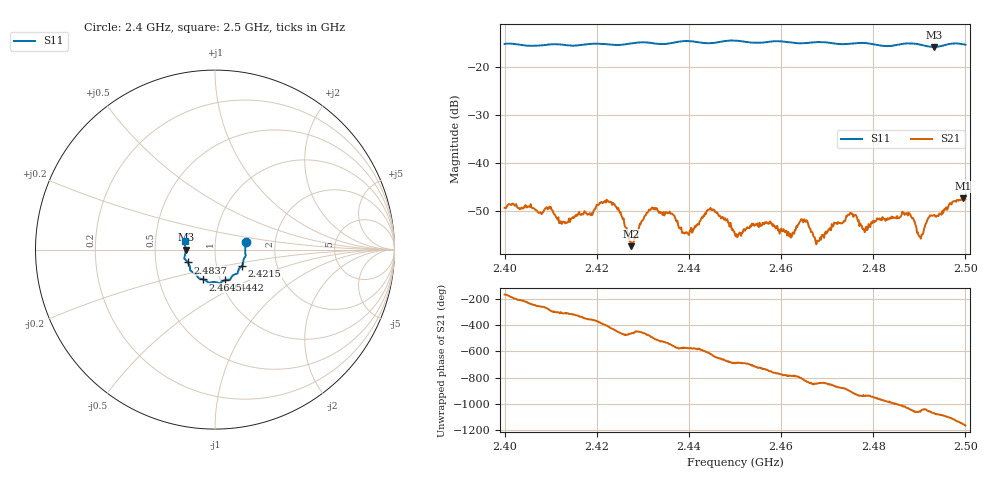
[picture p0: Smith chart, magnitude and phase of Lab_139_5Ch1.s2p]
# Hz S RI R 50
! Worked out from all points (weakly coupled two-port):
!   601 points, 2.4 GHz to 2.5 GHz, reference 50 ohm
!   highest |S21| = -47.28 dB at 2.4995 GHz (marker M1); lowest = -57.3 dB at 2.4275 GHz (marker M2)
!   lowest |S11| = -15.7 dB at 2.4932 GHz (marker M3), VSWR 1.39, Z = 36 - j0.0548 ohm
!   |S11| at or under -10 dB: start of sweep to end of sweep
!   S12 and S22 are empty: the file has one direction only
!   S11 on the Smith chart (normalised r, x): 2.4 GHz: 1.41, +0.12; 2.4215 GHz: 1.33, -0.25; 2.4442 GHz: 1.05, -0.37; 2.4645 GHz: 0.83, -0.29; 2.4837 GHz: 0.73, -0.11; 2.5 GHz: 0.71, +0.07
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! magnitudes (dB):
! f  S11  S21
! 2.4 GHz  -15.1  -49.3
! 2.4167 GHz  -15.3  -50.7
! 2.4215 GHz  -15.1  -48.0
! 2.4247 GHz  -15.3  -49.3
! 2.4275 GHz  -15.0  -57.3
! 2.4333 GHz  -15.1  -50.0
! 2.4395 GHz  -14.5  -54.3
! 2.4442 GHz  -15.0  -49.7
! 2.45 GHz  -14.4  -54.9
! 2.4623 GHz  -14.8  -55.2
! 2.4645 GHz  -15.0  -51.6
! 2.4667 GHz  -14.8  -54.3
! 2.4682 GHz  -14.7  -56.3
! 2.475 GHz  -15.1  -50.3
! 2.4782 GHz  -14.9  -54.4
! 2.4833 GHz  -15.6  -51.7
! 2.4837 GHz  -15.5  -51.3
! 2.4877 GHz  -15.0  -50.3
! 2.4903 GHz  -15.3  -55.7
! 2.4932 GHz  -15.7  -50.8
! 2.4995 GHz  -15.2  -47.3
! 2.5 GHz  -15.3  -47.5
